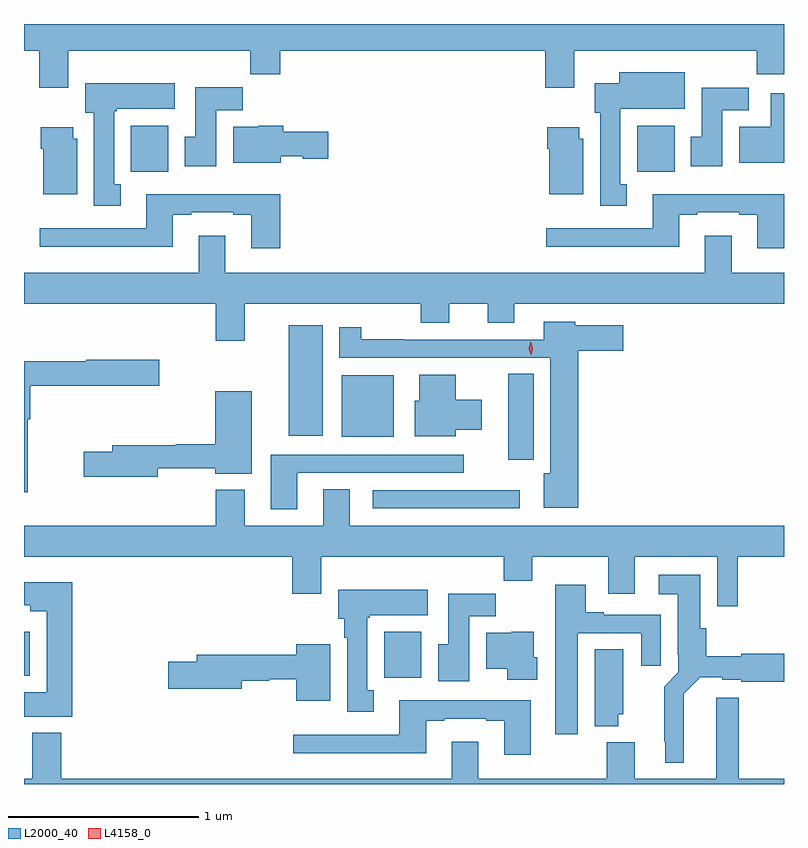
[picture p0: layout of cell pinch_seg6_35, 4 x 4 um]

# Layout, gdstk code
import gdstk
lib = gdstk.Library(unit=1e-6, precision=1e-09)
def R(c, l, rs):  # rectangles x0, y0, x1, y1
    for r in rs: c.add(gdstk.rectangle(r[:2], r[2:], *l))
def P(c, l, *ps):  # polygons
    for p in ps: c.add(gdstk.Polygon(p, *l))
L2000_40 = (2000, 40)
L4158_0 = (4158, 0)

pinch_seg6_35 = lib.new_cell('pinch_seg6_35')
R(pinch_seg6_35, L2000_40, [(937.256,960.02,937.453,960.262), (935.361,960.032,935.392,960.262), (937.197,960.912,937.969,961.008), (937.91,961.167,938.044,961.619), (937.034,961.289,937.306,961.612), (936.755,961.295,936.934,961.876), (935.924,962.684,936.121,962.926), (938.588,962.684,938.785,962.926)])
P(pinch_seg6_35, L2000_40, [(935.593,963.32),(936.553,963.32),(936.553,963.196),(936.71,963.196),(936.71,963.32),(938.105,963.32),(938.105,963.126),(938.257,963.126),(938.257,963.32),(939.217,963.32),(939.217,963.196),(939.361,963.196),(939.361,963.461),(935.361,963.461),(935.361,963.32),(935.441,963.32),(935.441,963.126),(935.593,963.126)],
  [(938.533,962.618),(938.5,962.618),(938.5,963.014),(938.839,963.014),(938.839,963.208),(938.495,963.208),(938.495,963.148),(938.366,963.148),(938.366,962.994),(938.393,962.994),(938.393,962.505),(938.533,962.505)],
  [(935.869,962.618),(935.836,962.618),(935.836,963.001),(935.85,963.001),(935.85,963.014),(936.154,963.014),(936.154,963.148),(935.684,963.148),(935.684,962.994),(935.729,962.994),(935.729,962.505),(935.869,962.505)],
  [(936.373,963.008),(936.512,963.008),(936.512,963.127),(936.263,963.127),(936.263,962.868),(936.206,962.868),(936.206,962.712),(936.373,962.712)],
  [(939.037,963.008),(939.176,963.008),(939.176,963.126),(938.927,963.126),(938.927,962.868),(938.87,962.868),(938.87,962.712),(939.037,962.712)],
  [(939.361,963.097),(939.29,963.097),(939.29,962.92),(939.125,962.92),(939.125,962.732),(939.361,962.732)],
  [(936.712,962.765),(936.828,962.765),(936.828,962.753),(936.961,962.753),(936.961,962.895),(936.725,962.895),(936.725,962.926),(936.594,962.926),(936.594,962.92),(936.461,962.92),(936.461,962.732),(936.712,962.732)],
  [(935.641,962.856),(935.62,962.856),(935.62,962.917),(935.45,962.917),(935.45,962.804),(935.462,962.804),(935.462,962.564),(935.641,962.564)],
  [(938.305,962.856),(938.284,962.856),(938.284,962.917),(938.114,962.917),(938.114,962.804),(938.126,962.804),(938.126,962.564),(938.305,962.564)],
  [(939.361,962.566),(938.669,962.566),(938.669,962.385),(938.109,962.385),(938.109,962.288),(938.809,962.288),(938.809,962.457),(938.905,962.457),(938.905,962.469),(939.125,962.469),(939.125,962.457),(939.221,962.457),(939.221,962.28),(939.361,962.28)],
  [(936.71,962.566),(936.005,962.566),(936.005,962.385),(935.445,962.385),(935.445,962.288),(936.145,962.288),(936.145,962.457),(936.241,962.457),(936.241,962.469),(936.461,962.469),(936.461,962.457),(936.557,962.457),(936.557,962.28),(936.71,962.28)],
  [(936.523,961.988),(937.448,961.988),(937.448,961.889),(937.6,961.889),(937.6,961.988),(937.802,961.988),(937.802,961.889),(937.942,961.889),(937.942,961.988),(939.361,961.988),(939.361,962.152),(939.085,962.152),(939.085,962.347),(938.945,962.347),(938.945,962.152),(936.421,962.152),(936.421,962.347),(936.281,962.347),(936.281,962.152),(935.361,962.152),(935.361,961.988),(936.371,961.988),(936.371,961.794),(936.523,961.794)],
  [(938.279,961.742),(938.515,961.742),(938.515,961.876),(938.262,961.876),(938.262,961.894),(938.096,961.894),(938.096,961.8),(937.364,961.8),(937.364,961.802),(937.137,961.802),(937.137,961.864),(937.019,961.864),(937.019,961.704),(938.132,961.704),(938.132,961.096),(938.096,961.096),(938.096,960.914),(938.279,960.914)],
  [(935.38,961.381),(935.393,961.381),(935.393,961.558),(936.073,961.558),(936.073,961.695),(935.688,961.695),(935.688,961.687),(935.361,961.687),(935.361,960.996),(935.38,960.996)],
  [(937.633,961.325),(937.771,961.325),(937.771,961.483),(937.633,961.483),(937.633,961.615),(937.442,961.615),(937.442,961.479),(937.418,961.479),(937.418,961.292),(937.633,961.292)],
  [(936.064,961.122),(936.368,961.122),(936.368,961.094),(936.559,961.094),(936.559,961.528),(936.368,961.528),(936.368,961.25),(936.16,961.25),(936.16,961.243),(935.825,961.243),(935.825,961.209),(935.676,961.209),(935.676,961.079),(936.064,961.079)],
  [(936.799,961.098),(937.675,961.098),(937.675,961.194),(936.659,961.194),(936.659,960.906),(936.799,960.906)],
  [(939.118,960.656),(939.361,960.656),(939.361,960.82),(937.075,960.82),(937.075,961.013),(936.935,961.013),(936.935,960.82),(936.523,960.82),(936.523,961.009),(936.371,961.009),(936.371,960.82),(935.361,960.82),(935.361,960.656),(936.773,960.656),(936.773,960.462),(936.925,960.462),(936.925,960.656),(937.885,960.656),(937.885,960.532),(938.037,960.532),(938.037,960.656),(938.435,960.656),(938.435,960.462),(938.575,960.462),(938.575,960.656),(939.009,960.656),(939.009,960.396),(939.118,960.396)],
  [(938.833,959.936),(938.919,960.023),(939.036,960.023),(939.036,960.011),(939.136,960.011),(939.136,959.999),(939.361,959.999),(939.361,960.146),(939.136,960.146),(939.136,960.133),(938.951,960.133),(938.951,960.282),(938.92,960.282),(938.92,960.562),(938.703,960.562),(938.703,960.461),(938.801,960.461),(938.801,960.142),(938.805,960.142),(938.805,960.048),(938.731,959.974),(938.731,959.683),(938.735,959.683),(938.735,959.573),(938.833,959.573)],
  [(935.615,960.523),(935.361,960.523),(935.361,960.401),(935.393,960.401),(935.393,960.371),(935.48,960.371),(935.48,959.944),(935.361,959.944),(935.361,959.816),(935.615,959.816)],
  [(938.275,960.255),(938.609,960.255),(938.609,960.084),(938.713,960.084),(938.713,960.351),(938.413,960.351),(938.413,960.364),(938.317,960.364),(938.317,960.511),(938.156,960.511),(938.156,959.724),(938.275,959.724)],
  [(937.201,959.954),(937.168,959.954),(937.168,960.337),(937.182,960.337),(937.182,960.35),(937.486,960.35),(937.486,960.484),(937.016,960.484),(937.016,960.33),(937.046,960.33),(937.046,960.23),(937.061,960.23),(937.061,959.841),(937.201,959.841)],
  [(937.705,960.344),(937.844,960.344),(937.844,960.463),(937.595,960.463),(937.595,960.196),(937.541,960.196),(937.541,960.003),(937.705,960.003)],
  [(938.062,960.129),(938.044,960.129),(938.044,960.262),(937.926,960.262),(937.926,960.256),(937.793,960.256),(937.793,960.068),(937.904,960.068),(937.904,960.011),(938.062,960.011)],
  [(936.973,960.196),(936.794,960.196),(936.794,960.14),(936.269,960.14),(936.269,960.104),(936.12,960.104),(936.12,959.962),(936.508,959.962),(936.508,960.004),(936.651,960.004),(936.651,960.012),(936.794,960.012),(936.794,959.9),(936.973,959.9)],
  [(938.488,959.829),(938.515,959.829),(938.515,960.17),(938.366,960.17),(938.366,959.765),(938.488,959.765)],
  [(939.361,959.488),(939.123,959.488),(939.123,959.914),(939.005,959.914),(939.005,959.488),(938.575,959.488),(938.575,959.68),(938.428,959.68),(938.428,959.488),(937.753,959.488),(937.753,959.683),(937.613,959.683),(937.613,959.488),(935.558,959.488),(935.558,959.731),(935.405,959.731),(935.405,959.488),(935.361,959.488),(935.361,959.461),(939.361,959.461)],
  [(938.029,959.901),(937.337,959.901),(937.337,959.721),(936.777,959.721),(936.777,959.624),(937.477,959.624),(937.477,959.793),(937.573,959.793),(937.573,959.805),(937.793,959.805),(937.793,959.793),(937.889,959.793),(937.889,959.616),(938.029,959.616)])
P(pinch_seg6_35, L4158_0, [(938.03,961.717),(938.03,961.718),(938.018,961.753),(938.027,961.788),(938.027,961.788),(938.027,961.788),(938.038,961.753),(938.03,961.718)])

lib.write_gds('pinch_seg6_35.gds')
